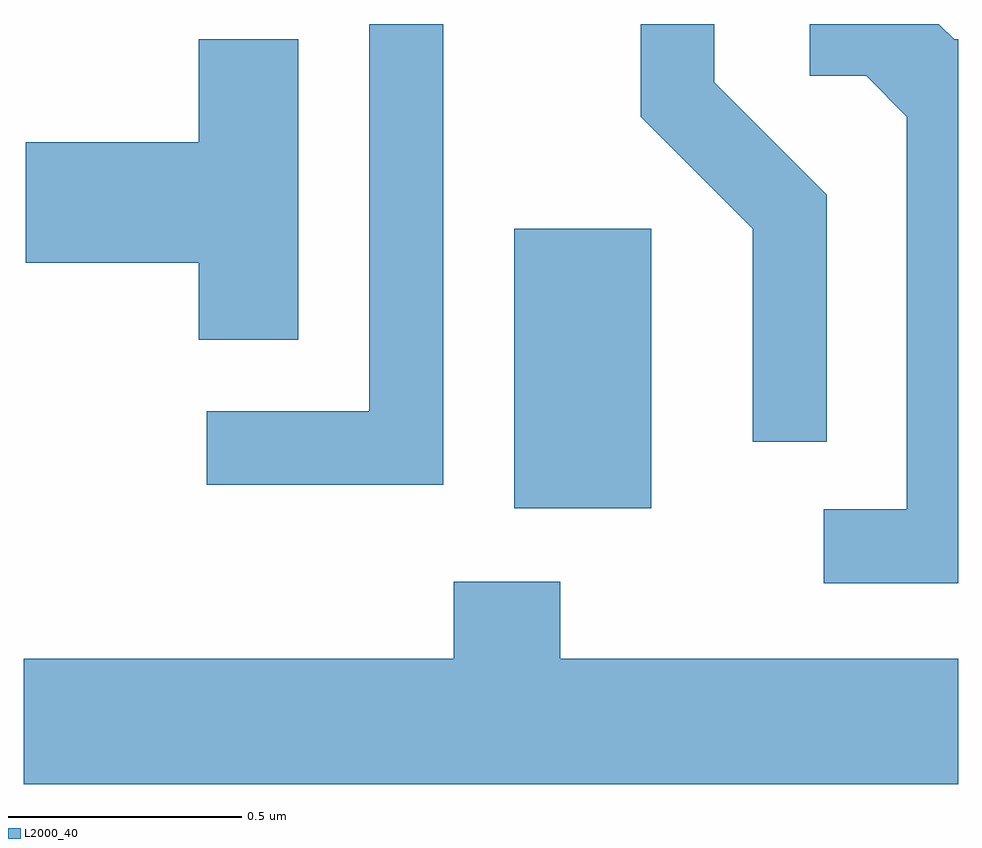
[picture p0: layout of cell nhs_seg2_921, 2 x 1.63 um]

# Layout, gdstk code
import gdstk
lib = gdstk.Library(unit=1e-6, precision=1e-09)
def R(c, l, rs):  # rectangles x0, y0, x1, y1
    for r in rs: c.add(gdstk.rectangle(r[:2], r[2:], *l))
def P(c, l, *ps):  # polygons
    for p in ps: c.add(gdstk.Polygon(p, *l))
L2000_40 = (2000, 40)

nhs_seg2_921 = lib.new_cell('nhs_seg2_921')
R(nhs_seg2_921, L2000_40, [(192.661,1077.766,192.954,1078.364)])
P(nhs_seg2_921, L2000_40, [(192.509,1078.802),(192.351,1078.802),(192.351,1077.974),(192.003,1077.974),(192.003,1077.816),(192.509,1077.816)],
  [(193.329,1078.437),(193.089,1078.677),(193.089,1078.802),(192.931,1078.802),(192.931,1078.604),(193.171,1078.364),(193.171,1077.908),(193.329,1077.908)],
  [(193.611,1078.769),(193.602,1078.769),(193.569,1078.802),(193.293,1078.802),(193.293,1078.691),(193.414,1078.691),(193.501,1078.604),(193.501,1077.764),(193.323,1077.764),(193.323,1077.606),(193.611,1077.606)],
  [(192.199,1078.769),(191.986,1078.769),(191.986,1078.549),(191.616,1078.549),(191.616,1078.291),(191.986,1078.291),(191.986,1078.126),(192.199,1078.126)],
  [(193.611,1077.444),(192.759,1077.444),(192.759,1077.609),(192.531,1077.609),(192.531,1077.444),(191.611,1077.444),(191.611,1077.176),(193.611,1077.176)])

lib.write_gds('nhs_seg2_921.gds')
